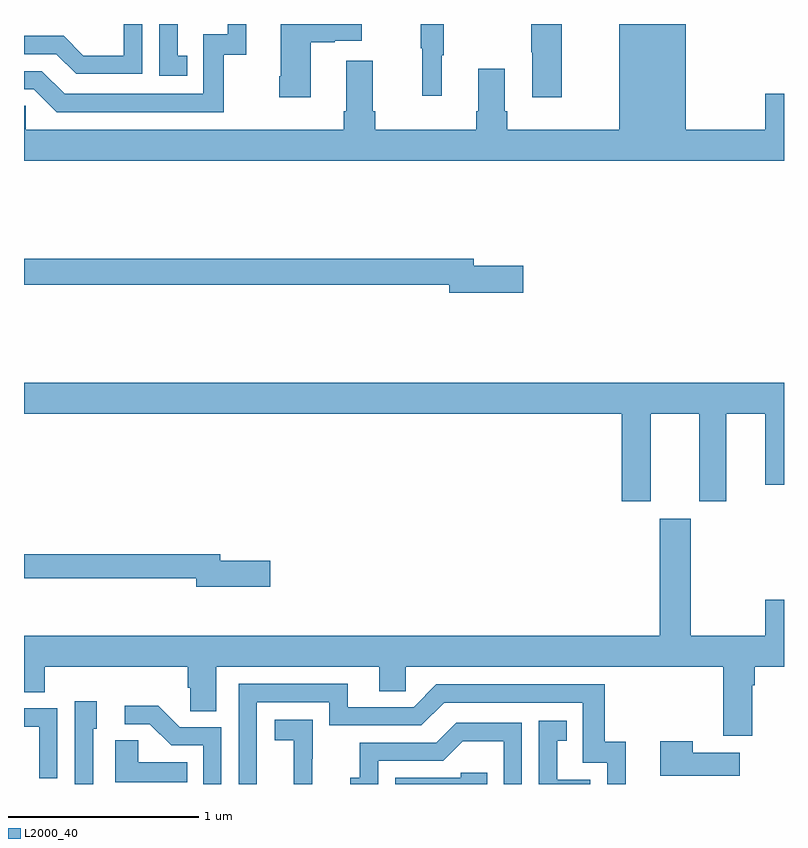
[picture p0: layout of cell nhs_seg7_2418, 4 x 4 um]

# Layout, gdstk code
import gdstk
lib = gdstk.Library(unit=1e-6, precision=1e-09)
def P(c, l, *ps):  # polygons
    for p in ps: c.add(gdstk.Polygon(p, *l))
L2000_40 = (2000, 40)

nhs_seg7_2418 = lib.new_cell('nhs_seg7_2418')
P(nhs_seg7_2418, L2000_40, [(270.508,1003.903),(270.635,1003.903),(270.635,1003.913),(270.778,1003.913),(270.778,1004),(270.35,1004),(270.35,1003.726),(270.343,1003.726),(270.343,1003.614),(270.508,1003.614)],
  [(269.858,1003.833),(269.809,1003.833),(269.809,1004),(269.712,1004),(269.712,1003.728),(269.858,1003.728)],
  [(273,1003.633),(272.9,1003.633),(272.9,1003.444),(272.482,1003.444),(272.482,1004),(272.132,1004),(272.132,1003.444),(271.544,1003.444),(271.544,1003.54),(271.531,1003.54),(271.531,1003.765),(271.391,1003.765),(271.391,1003.54),(271.379,1003.54),(271.379,1003.444),(270.848,1003.444),(270.848,1003.54),(270.835,1003.54),(270.835,1003.807),(270.695,1003.807),(270.695,1003.54),(270.683,1003.54),(270.683,1003.444),(269.01,1003.444),(269.01,1003.571),(269,1003.571),(269,1003.28),(273,1003.28)],
  [(269.622,1004),(269.526,1004),(269.526,1003.834),(269.312,1003.834),(269.208,1003.938),(269,1003.938),(269,1003.842),(269.171,1003.842),(269.276,1003.737),(269.622,1003.737)],
  [(270.052,1003.839),(270.17,1003.839),(270.17,1004),(270.072,1004),(270.072,1003.947),(269.943,1003.947),(269.943,1003.632),(269.214,1003.632),(269.094,1003.752),(269,1003.752),(269,1003.656),(269.052,1003.656),(269.172,1003.536),(270.052,1003.536)],
  [(271.199,1003.835),(271.21,1003.835),(271.21,1004),(271.089,1004),(271.089,1003.872),(271.096,1003.872),(271.096,1003.623),(271.199,1003.623)],
  [(271.83,1004),(271.669,1004),(271.669,1003.852),(271.676,1003.852),(271.676,1003.614),(271.83,1003.614)],
  [(271.627,1002.728),(271.366,1002.728),(271.366,1002.764),(269,1002.764),(269,1002.628),(271.238,1002.628),(271.238,1002.586),(271.627,1002.586)],
  [(272.299,1001.948),(272.555,1001.948),(272.555,1001.487),(272.695,1001.487),(272.695,1001.948),(272.9,1001.948),(272.9,1001.574),(273,1001.574),(273,1002.112),(269,1002.112),(269,1001.948),(272.147,1001.948),(272.147,1001.487),(272.299,1001.487)],
  [(272.833,1000.52),(272.846,1000.52),(272.846,1000.616),(273,1000.616),(273,1000.969),(272.9,1000.969),(272.9,1000.78),(272.509,1000.78),(272.509,1001.395),(272.345,1001.395),(272.345,1000.78),(269,1000.78),(269,1000.483),(269.108,1000.483),(269.108,1000.616),(269.861,1000.616),(269.861,1000.507),(269.874,1000.507),(269.874,1000.384),(270.013,1000.384),(270.013,1000.616),(270.869,1000.616),(270.869,1000.489),(271.008,1000.489),(271.008,1000.616),(272.681,1000.616),(272.681,1000.254),(272.833,1000.254)],
  [(270.295,1001.174),(270.034,1001.174),(270.034,1001.21),(269,1001.21),(269,1001.082),(269.906,1001.082),(269.906,1001.039),(270.295,1001.039)],
  [(270.225,1000.431),(270.606,1000.431),(270.606,1000.308),(271.092,1000.308),(271.212,1000.428),(271.941,1000.428),(271.941,1000.113),(272.07,1000.113),(272.07,1000),(272.168,1000),(272.168,1000.222),(272.057,1000.222),(272.057,1000.524),(271.17,1000.524),(271.05,1000.404),(270.703,1000.404),(270.703,1000.527),(270.129,1000.527),(270.129,1000),(270.225,1000)],
  [(269.364,1000.29),(269.383,1000.29),(269.383,1000.435),(269.268,1000.435),(269.268,1000),(269.364,1000)],
  [(270.039,1000.299),(269.82,1000.299),(269.707,1000.412),(269.529,1000.412),(269.529,1000.314),(269.663,1000.314),(269.774,1000.203),(269.943,1000.203),(269.943,1000),(270.039,1000)],
  [(269.175,1000.398),(269,1000.398),(269,1000.302),(269.079,1000.302),(269.079,1000.029),(269.175,1000.029)],
  [(270.518,1000.133),(270.519,1000.133),(270.519,1000.339),(270.321,1000.339),(270.321,1000.229),(270.419,1000.229),(270.419,1000.001),(270.42,1000.001),(270.42,1000),(270.518,1000)],
  [(271.98,1000.023),(271.807,1000.023),(271.807,1000.227),(271.856,1000.227),(271.856,1000.333),(271.71,1000.333),(271.71,1000),(271.98,1000)],
  [(270.864,1000.122),(271.206,1000.122),(271.31,1000.226),(271.524,1000.226),(271.524,1000),(271.62,1000),(271.62,1000.323),(271.274,1000.323),(271.169,1000.218),(270.766,1000.218),(270.766,1000.033),(270.717,1000.033),(270.717,1000),(270.864,1000)],
  [(269.858,1000.114),(269.601,1000.114),(269.601,1000.229),(269.48,1000.229),(269.48,1000.01),(269.858,1000.01)],
  [(272.767,1000.165),(272.519,1000.165),(272.519,1000.225),(272.348,1000.225),(272.348,1000.043),(272.767,1000.043)],
  [(271.439,1000.059),(271.299,1000.059),(271.299,1000.032),(270.954,1000.032),(270.954,1000),(271.439,1000)])

lib.write_gds('nhs_seg7_2418.gds')
